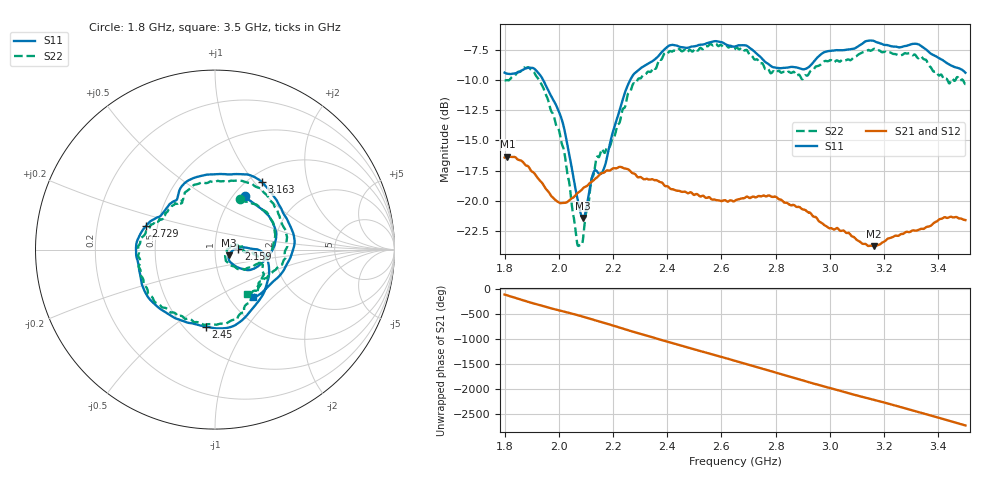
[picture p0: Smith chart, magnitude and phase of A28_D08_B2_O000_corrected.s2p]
! Created with skrf 1.9.0 (http://scikit-rf.org).
# Hz S RI R 50.0
!freq ReS11 ImS11 ReS21 ImS21 ReS12 ImS12 ReS22 ImS22
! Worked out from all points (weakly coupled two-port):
!   1601 points, 1.8 GHz to 3.5 GHz, reference 50 ohm
!   highest |S21| = -16.34 dB at 1.811 GHz (marker M1); lowest = -23.8 dB at 3.162 GHz (marker M2)
!   lowest |S11| = -21.4 dB at 2.09 GHz (marker M3), VSWR 1.19, Z = 58.5 - j3.63 ohm
!   |S11| at or under -10 dB: 1.942 GHz to 2.264 GHz (321.4 MHz wide, 15.3 % of centre)
!   |S22| runs from -23.7 to -7.0 dB; largest |S21 - S12| = 0.003
!   S11 on the Smith chart (normalised r, x): 1.8 GHz: 1.13, +0.75; 2.159 GHz: 1.30, +0.01; 2.45 GHz: 0.63, -0.67; 2.729 GHz: 0.43, +0.13; 3.163 GHz: 1.15, +1.10; 3.5 GHz: 1.27, -0.76
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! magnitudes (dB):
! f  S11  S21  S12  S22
! 1.8 GHz  -9.4  -16.4  -16.4  -10.0
! 1.811 GHz  -9.5  -16.3  -16.3  -10.0
! 1.886 GHz  -9.0  -17.1  -17.2  -8.9
! 1.94 GHz  -9.9  -18.6  -18.6  -10.5
! 2.013 GHz  -13.4  -20.2  -20.2  -15.4
! 2.066 GHz  -19.5  -19.4  -19.4  -23.3
! 2.084 GHz  -21.3  -19.1  -19.1  -23.7
! 2.09 GHz  -21.4  -18.9  -19.0  -23.0
! 2.127 GHz  -17.7  -18.3  -18.3  -17.9
! 2.159 GHz  -17.7  -17.7  -17.7  -15.7
! 2.195 GHz  -14.6  -17.4  -17.4  -15.0
! 2.261 GHz  -10.1  -17.5  -17.5  -11.0
! 2.367 GHz  -8.0  -18.4  -18.3  -8.4
! 2.45 GHz  -7.3  -19.2  -19.2  -7.6
! 2.65 GHz  -7.2  -20.0  -20.0  -7.4
! 2.729 GHz  -7.8  -19.7  -19.7  -8.3
! 2.934 GHz  -8.7  -21.2  -21.1  -9.2
! 3.162 GHz  -6.8  -23.8  -23.7  -7.4
! 3.163 GHz  -6.8  -23.8  -23.7  -7.4
! 3.217 GHz  -7.2  -23.1  -23.1  -7.7
! 3.326 GHz  -7.0  -22.4  -22.4  -8.2
! 3.5 GHz  -9.4  -21.6  -21.6  -10.3
